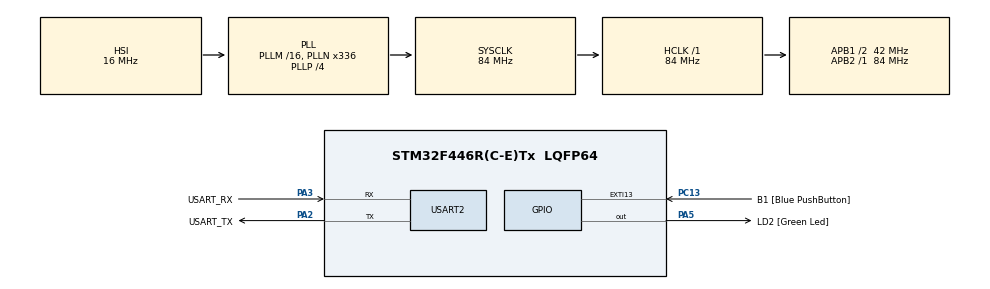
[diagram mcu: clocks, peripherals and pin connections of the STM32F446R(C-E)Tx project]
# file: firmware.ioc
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Mcu.Family=STM32F4
Mcu.Name=STM32F446R(C-E)Tx
Mcu.Package=LQFP64
NVIC.PriorityGroup=NVIC_PRIORITYGROUP_0
NVIC.TIM2_IRQn=true\:0\:0\:false\:false\:true\:true\:true\:true
PA13.GPIO_Label=TMS
PA13.Signal=SYS_JTMS-SWDIO
PA14.GPIO_Label=TCK
PA14.Signal=SYS_JTCK-SWCLK
PA2.GPIO_Label=USART_TX
PA2.Mode=Asynchronous
PA2.Signal=USART2_TX
PA3.GPIO_Label=USART_RX
PA3.Mode=Asynchronous
PA3.Signal=USART2_RX
PA5.GPIO_Label=LD2 [Green Led]
PA5.Signal=GPIO_Output
PB3.GPIO_Label=SWO
PB3.Signal=SYS_JTDO-SWO
PC13.GPIO_Label=B1 [Blue PushButton]
PC13.GPIO_ModeDefaultEXTI=GPIO_MODE_IT_FALLING
PC13.Signal=GPXTI13
PC14-OSC32_IN.Signal=RCC_OSC32_IN
PC15-OSC32_OUT.Signal=RCC_OSC32_OUT
PH0-OSC_IN.Signal=RCC_OSC_IN
PH1-OSC_OUT.Signal=RCC_OSC_OUT
ProjectManager.HeapSize=0x200
ProjectManager.StackSize=0x400
ProjectManager.TargetToolchain=STM32CubeIDE
RCC.AHBFreq_Value=84000000
RCC.APB1CLKDivider=RCC_HCLK_DIV2
RCC.APB1Freq_Value=42000000
RCC.APB1TimFreq_Value=84000000
RCC.APB2Freq_Value=84000000
RCC.APB2TimFreq_Value=84000000
RCC.CortexFreq_Value=84000000
RCC.FLatency-AdvancedSettings=FLASH_LATENCY_2
RCC.HCLKFreq_Value=84000000
RCC.HSE_VALUE=8000000
RCC.HSI_VALUE=16000000
RCC.LSE_VALUE=32768
RCC.PLLN=336
RCC.PLLP=RCC_PLLP_DIV4
RCC.SYSCLKFreq_VALUE=84000000
RCC.SYSCLKSource=RCC_SYSCLKSOURCE_PLLCLK
RCC.USBFreq_Value=168000000
RCC.VCOOutputFreq_Value=336000000
TIM2.Period=9999
TIM2.Prescaler=8399
USART2.VirtualMode=VM_ASYNC
VP_TIM2_VS_ClockSourceINT.Mode=Internal
board=NUCLEO-F446RE

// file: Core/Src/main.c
/* USER CODE BEGIN Header */
/**
  ******************************************************************************
  * @file           : main.c
  * @brief          : Main program body
  ******************************************************************************
  * @attention
  *
  * Copyright (c) 2026 STMicroelectronics.
  * All rights reserved.
  *
  * This software is licensed under terms that can be found in the LICENSE file
  * in the root directory of this software component.
  * If no LICENSE file comes with this software, it is provided AS-IS.
  *
  ******************************************************************************
  */
/* USER CODE END Header */
#include "main.h"

/* USER CODE BEGIN Includes */
#include <stdio.h>
/* USER CODE END Includes */

TIM_HandleTypeDef htim2;

UART_HandleTypeDef huart2;

void SystemClock_Config(void);
static void MX_GPIO_Init(void);
static void MX_USART2_UART_Init(void);
static void MX_TIM2_Init(void);

/* USER CODE BEGIN 0 */
void uart_send_string(const char *s)
{
    while (*s != '\0')
    {
        while (!(USART2->SR & USART_SR_TXE))
        {
        }
        USART2->DR = *s;
        s++;
    }
}
/* USER CODE END 0 */

volatile uint8_t tick_flag = 0;
uint32_t uptime = 0;

int main(void)
{

  /* MCU Configuration--------------------------------------------------------*/

  /* Reset of all peripherals, Initializes the Flash interface and the Systick. */
  HAL_Init();

  /* Configure the system clock */
  SystemClock_Config();

  /* Initialize all configured peripherals */
  MX_GPIO_Init();
  MX_USART2_UART_Init();
  MX_TIM2_Init();
  /* USER CODE BEGIN 2 */
  HAL_TIM_Base_Start_IT(&htim2);
  /* USER CODE END 2 */
  /* Infinite loop */
  while (1)
  {

    /* USER CODE BEGIN 3 */
	  if (tick_flag){

		  tick_flag = 0;
		  uptime++;
		  HAL_GPIO_TogglePin(GPIOA, GPIO_PIN_5);

		  char buf[32];
		  snprintf(buf, sizeof(buf), "uptime: %lu\r\n", uptime);
		  uart_send_string(buf);

	  }

  }
  /* USER CODE END 3 */
}

void SystemClock_Config(void)
{
  RCC_OscInitTypeDef RCC_OscInitStruct = {0};
  RCC_ClkInitTypeDef RCC_ClkInitStruct = {0};

  /** Configure the main internal regulator output voltage
  */
  __HAL_RCC_PWR_CLK_ENABLE();
  __HAL_PWR_VOLTAGESCALING_CONFIG(PWR_REGULATOR_VOLTAGE_SCALE3);

  /** Initializes the RCC Oscillators according to the specified parameters
  * in the RCC_OscInitTypeDef structure.
  */
  RCC_OscInitStruct.OscillatorType = RCC_OSCILLATORTYPE_HSI;
  RCC_OscInitStruct.HSIState = RCC_HSI_ON;
  RCC_OscInitStruct.HSICalibrationValue = RCC_HSICALIBRATION_DEFAULT;
  RCC_OscInitStruct.PLL.PLLState = RCC_PLL_ON;
  RCC_OscInitStruct.PLL.PLLSource = RCC_PLLSOURCE_HSI;
  RCC_OscInitStruct.PLL.PLLM = 16;
  RCC_OscInitStruct.PLL.PLLN = 336;
  RCC_OscInitStruct.PLL.PLLP = RCC_PLLP_DIV4;
  RCC_OscInitStruct.PLL.PLLQ = 2;
  RCC_OscInitStruct.PLL.PLLR = 2;
  if (HAL_RCC_OscConfig(&RCC_OscInitStruct) != HAL_OK)
  {
    Error_Handler();
  }

  /** Initializes the CPU, AHB and APB buses clocks
  */
  RCC_ClkInitStruct.ClockType = RCC_CLOCKTYPE_HCLK|RCC_CLOCKTYPE_SYSCLK
                              |RCC_CLOCKTYPE_PCLK1|RCC_CLOCKTYPE_PCLK2;
  RCC_ClkInitStruct.SYSCLKSource = RCC_SYSCLKSOURCE_PLLCLK;
  RCC_ClkInitStruct.AHBCLKDivider = RCC_SYSCLK_DIV1;
  RCC_ClkInitStruct.APB1CLKDivider = RCC_HCLK_DIV2;
  RCC_ClkInitStruct.APB2CLKDivider = RCC_HCLK_DIV1;

  if (HAL_RCC_ClockConfig(&RCC_ClkInitStruct, FLASH_LATENCY_2) != HAL_OK)
  {
    Error_Handler();
  }
}

static void MX_TIM2_Init(void)
{

  TIM_ClockConfigTypeDef sClockSourceConfig = {0};
  TIM_MasterConfigTypeDef sMasterConfig = {0};

  htim2.Instance = TIM2;
  htim2.Init.Prescaler = 8399;
  htim2.Init.CounterMode = TIM_COUNTERMODE_UP;
  htim2.Init.Period = 9999;
  htim2.Init.ClockDivision = TIM_CLOCKDIVISION_DIV1;
  htim2.Init.AutoReloadPreload = TIM_AUTORELOAD_PRELOAD_DISABLE;
  if (HAL_TIM_Base_Init(&htim2) != HAL_OK)
  {
    Error_Handler();
  }
  sClockSourceConfig.ClockSource = TIM_CLOCKSOURCE_INTERNAL;
  if (HAL_TIM_ConfigClockSource(&htim2, &sClockSourceConfig) != HAL_OK)
  {
    Error_Handler();
  }
  sMasterConfig.MasterOutputTrigger = TIM_TRGO_RESET;
  sMasterConfig.MasterSlaveMode = TIM_MASTERSLAVEMODE_DISABLE;
  if (HAL_TIMEx_MasterConfigSynchronization(&htim2, &sMasterConfig) != HAL_OK)
  {
    Error_Handler();
  }

}

static void MX_USART2_UART_Init(void)
{

  huart2.Instance = USART2;
  huart2.Init.BaudRate = 115200;
  huart2.Init.WordLength = UART_WORDLENGTH_8B;
  huart2.Init.StopBits = UART_STOPBITS_1;
  huart2.Init.Parity = UART_PARITY_NONE;
  huart2.Init.Mode = UART_MODE_TX_RX;
  huart2.Init.HwFlowCtl = UART_HWCONTROL_NONE;
  huart2.Init.OverSampling = UART_OVERSAMPLING_16;
  if (HAL_UART_Init(&huart2) != HAL_OK)
  {
    Error_Handler();
  }

}

static void MX_GPIO_Init(void)
{
  GPIO_InitTypeDef GPIO_InitStruct = {0};

  /* GPIO Ports Clock Enable */
  __HAL_RCC_GPIOC_CLK_ENABLE();
  __HAL_RCC_GPIOH_CLK_ENABLE();
  __HAL_RCC_GPIOA_CLK_ENABLE();
  __HAL_RCC_GPIOB_CLK_ENABLE();

  /*Configure GPIO pin Output Level */
  HAL_GPIO_WritePin(LD2_GPIO_Port, LD2_Pin, GPIO_PIN_RESET);

  /*Configure GPIO pin : B1_Pin */
  GPIO_InitStruct.Pin = B1_Pin;
  GPIO_InitStruct.Mode = GPIO_MODE_IT_FALLING;
  GPIO_InitStruct.Pull = GPIO_NOPULL;
  HAL_GPIO_Init(B1_GPIO_Port, &GPIO_InitStruct);

  /*Configure GPIO pin : LD2_Pin */
  GPIO_InitStruct.Pin = LD2_Pin;
  GPIO_InitStruct.Mode = GPIO_MODE_OUTPUT_PP;
  GPIO_InitStruct.Pull = GPIO_NOPULL;
  GPIO_InitStruct.Speed = GPIO_SPEED_FREQ_LOW;
  HAL_GPIO_Init(LD2_GPIO_Port, &GPIO_InitStruct);

}

/* USER CODE BEGIN 4 */

void HAL_TIM_PeriodElapsedCallback(TIM_HandleTypeDef *htim)
{
    if (htim->Instance == TIM2)
    {
        tick_flag = 1;
    }
}

/* USER CODE END 4 */

void Error_Handler(void)
{
  __disable_irq();
  while (1)
  {
  }
}
